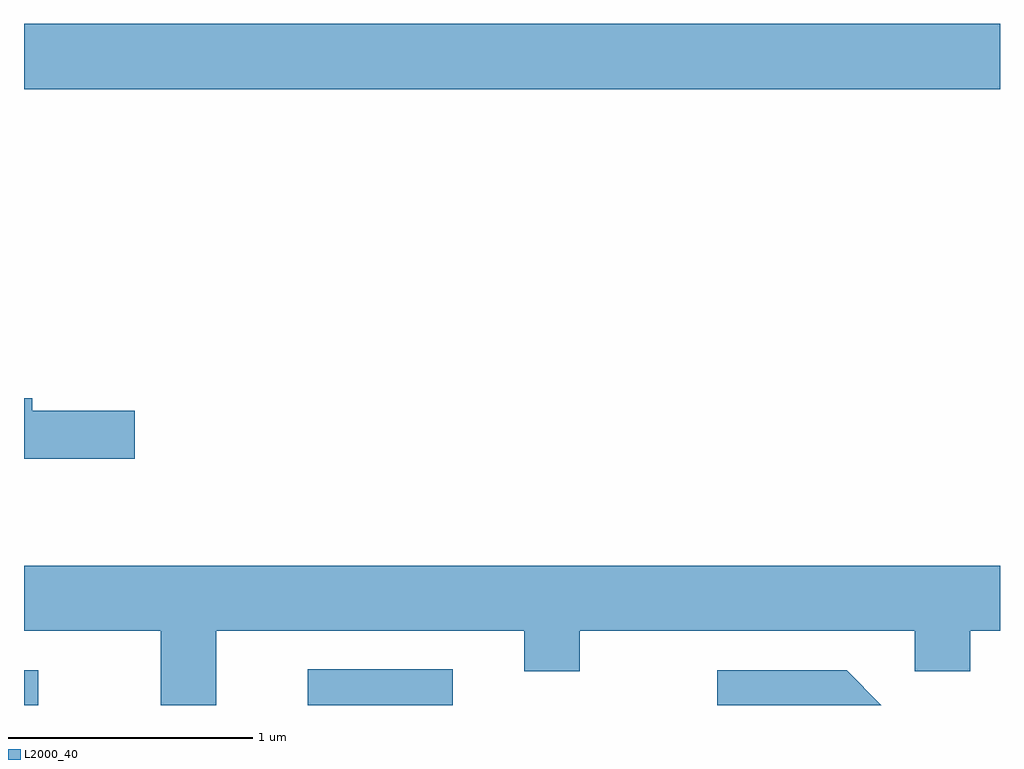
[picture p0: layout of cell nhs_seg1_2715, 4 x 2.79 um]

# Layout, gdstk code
import gdstk
lib = gdstk.Library(unit=1e-6, precision=1e-09)
def R(c, l, rs):  # rectangles x0, y0, x1, y1
    for r in rs: c.add(gdstk.rectangle(r[:2], r[2:], *l))
def P(c, l, *ps):  # polygons
    for p in ps: c.add(gdstk.Polygon(p, *l))
L2000_40 = (2000, 40)

nhs_seg1_2715 = lib.new_cell('nhs_seg1_2715')
R(nhs_seg1_2715, L2000_40, [(267.611,903.712,267.669,903.854), (268.773,903.712,269.369,903.859), (267.611,906.236,271.611,906.504)])
P(nhs_seg1_2715, L2000_40, [(268.064,904.919),(267.644,904.919),(267.644,904.969),(267.611,904.969),(267.611,904.721),(268.064,904.721)],
  [(268.399,904.016),(269.661,904.016),(269.661,903.851),(269.889,903.851),(269.889,904.016),(271.261,904.016),(271.261,903.851),(271.489,903.851),(271.489,904.016),(271.611,904.016),(271.611,904.284),(267.611,904.284),(267.611,904.016),(268.171,904.016),(268.171,903.712),(268.399,903.712)],
  [(270.982,903.854),(270.453,903.854),(270.453,903.712),(271.124,903.712)])

lib.write_gds('nhs_seg1_2715.gds')
